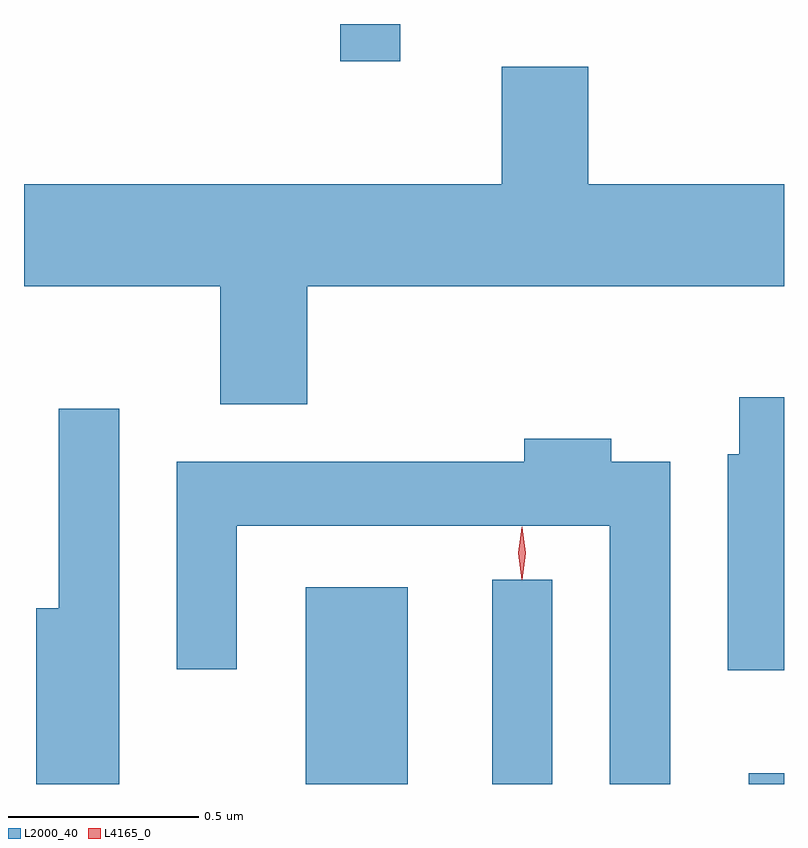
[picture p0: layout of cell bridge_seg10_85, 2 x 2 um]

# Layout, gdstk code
import gdstk
lib = gdstk.Library(unit=1e-6, precision=1e-09)
def R(c, l, rs):  # rectangles x0, y0, x1, y1
    for r in rs: c.add(gdstk.rectangle(r[:2], r[2:], *l))
def P(c, l, *ps):  # polygons
    for p in ps: c.add(gdstk.Polygon(p, *l))
L2000_40 = (2000, 40)
L4165_0 = (4165, 0)

bridge_seg10_85 = lib.new_cell('bridge_seg10_85')
R(bridge_seg10_85, L2000_40, [(1587.596,2181.426,1587.864,2181.944), (1588.086,2181.426,1588.244,2181.963), (1588.761,2181.426,1588.854,2181.454), (1587.686,2183.328,1587.844,2183.426)])
P(bridge_seg10_85, L2000_40, [(1587.599,2182.736),(1588.854,2182.736),(1588.854,2183.004),(1588.339,2183.004),(1588.339,2183.314),(1588.111,2183.314),(1588.111,2183.004),(1586.854,2183.004),(1586.854,2182.736),(1587.371,2182.736),(1587.371,2182.426),(1587.599,2182.426)],
  [(1588.854,2182.444),(1588.736,2182.444),(1588.736,2182.294),(1588.706,2182.294),(1588.706,2181.726),(1588.854,2181.726)],
  [(1587.104,2182.413),(1586.946,2182.413),(1586.946,2181.889),(1586.886,2181.889),(1586.886,2181.426),(1587.104,2181.426)],
  [(1588.554,2182.274),(1588.399,2182.274),(1588.399,2182.334),(1588.171,2182.334),(1588.171,2182.274),(1587.256,2182.274),(1587.256,2181.728),(1587.414,2181.728),(1587.414,2182.106),(1588.396,2182.106),(1588.396,2181.426),(1588.554,2181.426)])
P(bridge_seg10_85, L4165_0, [(1588.164,2181.964),(1588.155,2182.033),(1588.164,2182.102),(1588.165,2182.103),(1588.165,2182.102),(1588.175,2182.033),(1588.165,2181.964),(1588.165,2181.964)],
  [(1588.165,2181.967),(1588.164,2181.968),(1588.155,2182.034),(1588.164,2182.1),(1588.165,2182.1),(1588.165,2182.1),(1588.175,2182.034),(1588.165,2181.968)])

lib.write_gds('bridge_seg10_85.gds')
